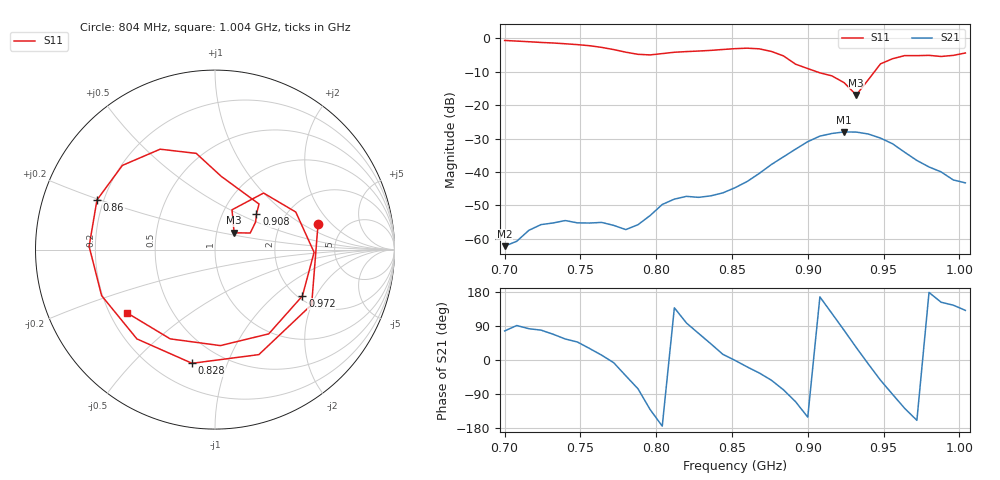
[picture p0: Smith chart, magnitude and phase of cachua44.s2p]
# Hz S RI R 50
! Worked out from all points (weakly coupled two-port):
!   39 points, 700 MHz to 1.004 GHz, reference 50 ohm
!   highest |S21| = -28.03 dB at 924 MHz (marker M1); lowest = -62.3 dB at 700 MHz (marker M2)
!   lowest |S11| = -17.0 dB at 932 MHz (marker M3), VSWR 1.33, Z = 60.7 + j11.6 ohm
!   |S11| at or under -10 dB: 906 MHz to 944 MHz (38.01 MHz wide, 4.11 % of centre)
!   S12 and S22 are empty: the file has one direction only
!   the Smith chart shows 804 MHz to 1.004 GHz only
!   S11 on the Smith chart (normalised r, x): 804 MHz: 3.22, +1.42; 828 MHz: 0.35, -0.76; 860 MHz: 0.17, +0.20; 908 MHz: 1.44, +0.63; 972 MHz: 2.11, -1.57; 1.004 GHz: 0.27, -0.30
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7e8  0.7662 0.5288  0.000178 0.00075  0 0  0 0
7.24e8  0.829 -0.2621  0.000314 0.00159  0 0  0 0
7.4e8  0.4448 -0.7014  0.00106 0.00154  0 0  0 0
7.56e8  -0.198 -0.7514  0.00148 0.00087  0 0  0 0
7.72e8  -0.6545 -0.1828  0.00157 -0.000199  0 0  0 0
7.8e8  -0.5762 0.2309  0.00102 -0.000912  0 0  0 0
7.88e8  -0.2193 0.5339  0.000392 -0.00157  0 0  0 0
7.96e8  0.2605 0.5018  -0.00145 -0.00168  0 0  0 0
8.04e8  0.5742 0.1428  -0.00324 -0.00031  0 0  0 0
8.2e8  0.2444 -0.5851  -0.000563 0.00426  0 0  0 0
8.28e8  -0.1278 -0.6335  0.00141 0.00391  0 0  0 0
8.52e8  -0.7013 0.0178  0.00579 -9.79e-05  0 0  0 0
8.6e8  -0.6577 0.2764  0.00682 -0.00224  0 0  0 0
8.76e8  -0.3054 0.5594  0.0077 -0.0103  0 0  0 0
9e8  0.2454 0.2538  -0.0248 -0.0139  0 0  0 0
9.08e8  0.2311 0.1986  -0.0334 0.00803  0 0  0 0
9.24e8  0.1963 0.0924  0.00807 0.0388  0 0  0 0
9.32e8  0.1065 0.0937  0.0331 0.0215  0 0  0 0
9.56e8  0.45 0.2093  -0.000417 -0.0263  0 0  0 0
9.72e8  0.4871 -0.2581  -0.0139 -0.00527  0 0  0 0
9.88e8  0.03 -0.5349  -0.00886 0.00463  0 0  0 0
1.004e9  -0.4916 -0.3517  -0.00449 0.00517  0 0  0 0
